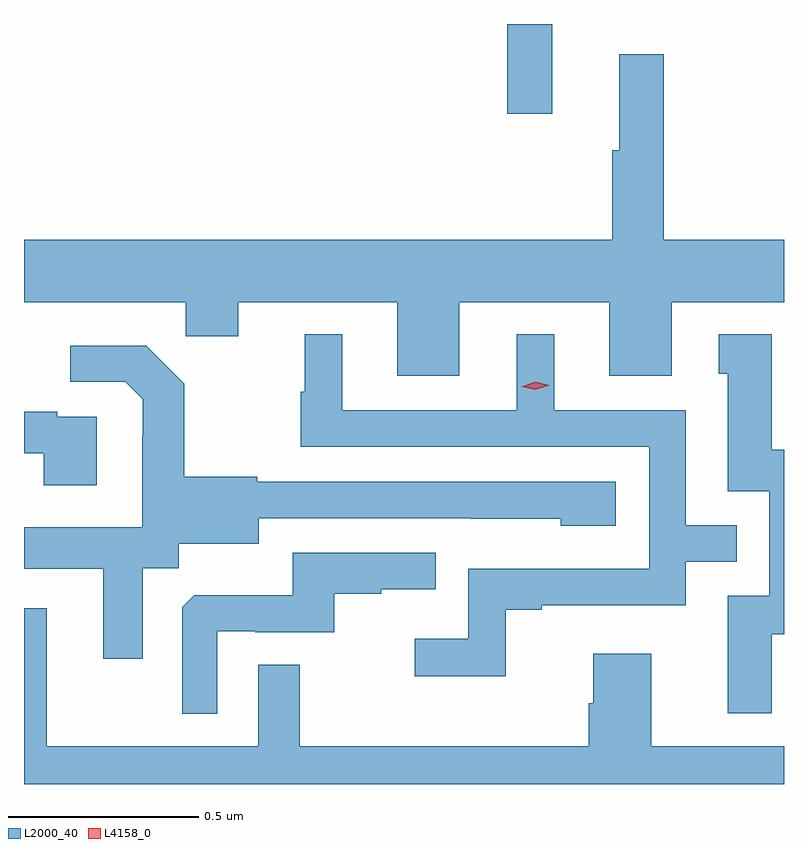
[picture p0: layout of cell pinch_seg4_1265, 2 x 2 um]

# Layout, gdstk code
import gdstk
lib = gdstk.Library(unit=1e-6, precision=1e-09)
def R(c, l, rs):  # rectangles x0, y0, x1, y1
    for r in rs: c.add(gdstk.rectangle(r[:2], r[2:], *l))
def P(c, l, *ps):  # polygons
    for p in ps: c.add(gdstk.Polygon(p, *l))
L2000_40 = (2000, 40)
L4158_0 = (4158, 0)

pinch_seg4_1265 = lib.new_cell('pinch_seg4_1265')
R(pinch_seg4_1265, L2000_40, [(147.295,813.3,147.413,813.536)])
P(pinch_seg4_1265, L2000_40, [(147.169,812.804),(147.563,812.804),(147.563,812.61),(147.727,812.61),(147.727,812.804),(148.023,812.804),(148.023,812.968),(147.707,812.968),(147.707,813.457),(147.59,813.457),(147.59,813.204),(147.571,813.204),(147.571,812.968),(146.023,812.968),(146.023,812.804),(146.449,812.804),(146.449,812.714),(146.587,812.714),(146.587,812.804),(147.005,812.804),(147.005,812.61),(147.169,812.61)],
  [(147.291,811.995),(147.385,811.995),(147.385,812.007),(147.765,812.007),(147.765,812.121),(147.899,812.121),(147.899,812.217),(147.765,812.217),(147.765,812.52),(147.418,812.52),(147.418,812.719),(147.32,812.719),(147.32,812.52),(146.86,812.52),(146.86,812.719),(146.762,812.719),(146.762,812.568),(146.751,812.568),(146.751,812.424),(147.669,812.424),(147.669,812.103),(147.192,812.103),(147.192,811.918),(147.051,811.918),(147.051,811.82),(147.291,811.82)],
  [(147.991,811.93),(148.023,811.93),(148.023,812.415),(147.991,812.415),(147.991,812.719),(147.851,812.719),(147.851,812.616),(147.875,812.616),(147.875,812.307),(147.984,812.307),(147.984,812.031),(147.875,812.031),(147.875,811.722),(147.991,811.722)],
  [(146.335,812.104),(146.43,812.104),(146.43,812.168),(146.641,812.168),(146.641,812.235),(147.199,812.235),(147.199,812.234),(147.435,812.234),(147.435,812.216),(147.58,812.216),(147.58,812.331),(146.637,812.331),(146.637,812.344),(146.445,812.344),(146.445,812.589),(146.345,812.689),(146.145,812.689),(146.145,812.595),(146.289,812.595),(146.336,812.548),(146.336,812.453),(146.334,812.453),(146.334,812.212),(146.023,812.212),(146.023,812.102),(146.231,812.102),(146.231,811.866),(146.335,811.866)],
  [(146.215,812.502),(146.111,812.502),(146.111,812.515),(146.023,812.515),(146.023,812.406),(146.075,812.406),(146.075,812.322),(146.215,812.322)],
  [(146.532,811.938),(146.632,811.938),(146.632,811.935),(146.84,811.935),(146.84,812.037),(146.963,812.037),(146.963,812.048),(147.107,812.048),(147.107,812.145),(146.73,812.145),(146.73,812.033),(146.471,812.033),(146.439,812.001),(146.439,811.721),(146.532,811.721)],
  [(148.023,811.636),(147.673,811.636),(147.673,811.879),(147.521,811.879),(147.521,811.749),(147.509,811.749),(147.509,811.636),(146.749,811.636),(146.749,811.85),(146.64,811.85),(146.64,811.636),(146.083,811.636),(146.083,811.999),(146.023,811.999),(146.023,811.536),(148.023,811.536)])
P(pinch_seg4_1265, L4158_0, [(147.369,812.574),(147.333,812.582),(147.333,812.582),(147.333,812.582),(147.369,812.594),(147.405,812.585),(147.405,812.585),(147.405,812.585)])

lib.write_gds('pinch_seg4_1265.gds')
